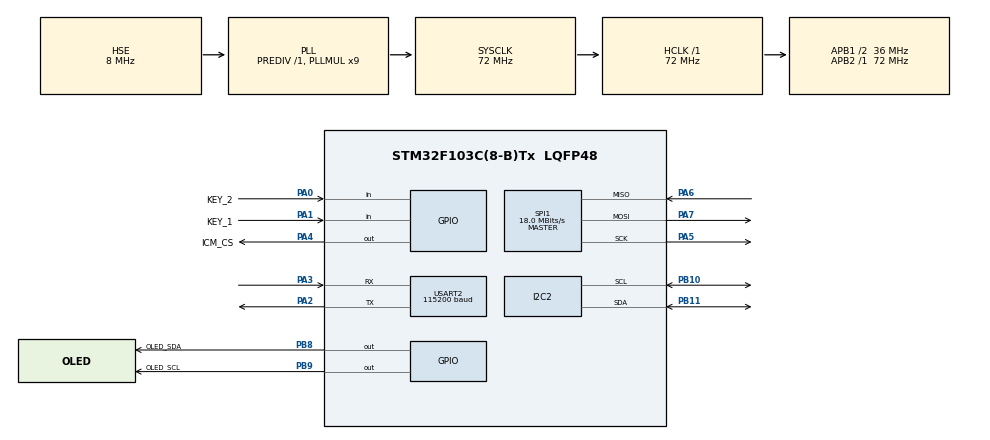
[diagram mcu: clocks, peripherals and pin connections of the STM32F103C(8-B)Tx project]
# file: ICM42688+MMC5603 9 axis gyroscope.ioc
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Dma.Request0=USART2_TX
Dma.Request1=USART2_RX
Dma.USART2_RX.1.Direction=DMA_PERIPH_TO_MEMORY
Dma.USART2_RX.1.Instance=DMA1_Channel6
Dma.USART2_RX.1.MemDataAlignment=DMA_MDATAALIGN_BYTE
Dma.USART2_RX.1.MemInc=DMA_MINC_ENABLE
Dma.USART2_RX.1.Mode=DMA_NORMAL
Dma.USART2_RX.1.PeriphDataAlignment=DMA_PDATAALIGN_BYTE
Dma.USART2_RX.1.PeriphInc=DMA_PINC_DISABLE
Dma.USART2_RX.1.Priority=DMA_PRIORITY_LOW
Dma.USART2_TX.0.Direction=DMA_MEMORY_TO_PERIPH
Dma.USART2_TX.0.Instance=DMA1_Channel7
Dma.USART2_TX.0.MemDataAlignment=DMA_MDATAALIGN_BYTE
Dma.USART2_TX.0.MemInc=DMA_MINC_ENABLE
Dma.USART2_TX.0.Mode=DMA_NORMAL
Dma.USART2_TX.0.PeriphDataAlignment=DMA_PDATAALIGN_BYTE
Dma.USART2_TX.0.PeriphInc=DMA_PINC_DISABLE
Dma.USART2_TX.0.Priority=DMA_PRIORITY_LOW
I2C2.I2C_Mode=I2C_Fast
Mcu.Family=STM32F1
Mcu.Name=STM32F103C(8-B)Tx
Mcu.Package=LQFP48
NVIC.DMA1_Channel6_IRQn=true\:0\:0\:false\:false\:true\:false\:true\:true
NVIC.DMA1_Channel7_IRQn=true\:0\:0\:false\:false\:true\:false\:true\:true
NVIC.PriorityGroup=NVIC_PRIORITYGROUP_4
NVIC.TIM2_IRQn=true\:0\:0\:false\:false\:true\:true\:true\:true
NVIC.TIM3_IRQn=true\:0\:0\:false\:false\:true\:true\:true\:true
NVIC.USART2_IRQn=true\:0\:0\:false\:false\:true\:true\:true\:true
PA0-WKUP.GPIO_Label=KEY_2
PA0-WKUP.GPIO_PuPd=GPIO_PULLUP
PA0-WKUP.Signal=GPIO_Input
PA1.GPIO_Label=KEY_1
PA1.GPIO_PuPd=GPIO_PULLUP
PA1.Signal=GPIO_Input
PA13.Mode=Serial_Wire
PA13.Signal=SYS_JTMS-SWDIO
PA14.Mode=Serial_Wire
PA14.Signal=SYS_JTCK-SWCLK
PA2.Mode=Asynchronous
PA2.Signal=USART2_TX
PA3.Mode=Asynchronous
PA3.Signal=USART2_RX
PA4.GPIO_Label=ICM_CS
PA4.GPIO_Speed=GPIO_SPEED_FREQ_HIGH
PA4.PinState=GPIO_PIN_SET
PA4.Signal=GPIO_Output
PA5.Mode=Full_Duplex_Master
PA5.Signal=SPI1_SCK
PA6.Mode=Full_Duplex_Master
PA6.Signal=SPI1_MISO
PA7.Mode=Full_Duplex_Master
PA7.Signal=SPI1_MOSI
PB10.Mode=I2C
PB10.Signal=I2C2_SCL
PB11.Mode=I2C
PB11.Signal=I2C2_SDA
PB8.GPIO_Label=OLED_SDA
PB8.GPIO_ModeDefaultOutputPP=GPIO_MODE_OUTPUT_OD
PB8.GPIO_PuPd=GPIO_PULLUP
PB8.GPIO_Speed=GPIO_SPEED_FREQ_HIGH
PB8.PinState=GPIO_PIN_RESET
PB8.Signal=GPIO_Output
PB9.GPIO_Label=OLED_SCL
PB9.GPIO_ModeDefaultOutputPP=GPIO_MODE_OUTPUT_OD
PB9.GPIO_PuPd=GPIO_PULLUP
PB9.GPIO_Speed=GPIO_SPEED_FREQ_HIGH
PB9.PinState=GPIO_PIN_RESET
PB9.Signal=GPIO_Output
PC14-OSC32_IN.Mode=LSE-External-Oscillator
PC14-OSC32_IN.Signal=RCC_OSC32_IN
PC15-OSC32_OUT.Mode=LSE-External-Oscillator
PC15-OSC32_OUT.Signal=RCC_OSC32_OUT
PD0-OSC_IN.Mode=HSE-External-Oscillator
PD0-OSC_IN.Signal=RCC_OSC_IN
PD1-OSC_OUT.Mode=HSE-External-Oscillator
PD1-OSC_OUT.Signal=RCC_OSC_OUT
ProjectManager.HeapSize=0x200
ProjectManager.StackSize=0x400
ProjectManager.TargetToolchain=MDK-ARM V5.32
RCC.AHBFreq_Value=72000000
RCC.APB1CLKDivider=RCC_HCLK_DIV2
RCC.APB1Freq_Value=36000000
RCC.APB1TimFreq_Value=72000000
RCC.APB2Freq_Value=72000000
RCC.APB2TimFreq_Value=72000000
RCC.HCLKFreq_Value=72000000
RCC.PLLMUL=RCC_PLL_MUL9
RCC.PLLSourceVirtual=RCC_PLLSOURCE_HSE
RCC.SYSCLKFreq_VALUE=72000000
RCC.SYSCLKSource=RCC_SYSCLKSOURCE_PLLCLK
RCC.USBFreq_Value=72000000
SPI1.BaudRatePrescaler=SPI_BAUDRATEPRESCALER_4
SPI1.CLKPhase=SPI_PHASE_2EDGE
SPI1.CLKPolarity=SPI_POLARITY_HIGH
SPI1.CRCCalculation=SPI_CRCCALCULATION_DISABLE
SPI1.CalculateBaudRate=18.0 MBits/s
SPI1.Direction=SPI_DIRECTION_2LINES
SPI1.Mode=SPI_MODE_MASTER
SPI1.VirtualType=VM_MASTER
TIM2.AutoReloadPreload=TIM_AUTORELOAD_PRELOAD_ENABLE
TIM2.Period=499
TIM2.Prescaler=719
TIM3.AutoReloadPreload=TIM_AUTORELOAD_PRELOAD_ENABLE
TIM3.Period=999
TIM3.Prescaler=71
USART2.BaudRate=115200
USART2.VirtualMode=VM_ASYNC
VP_TIM2_VS_ClockSourceINT.Mode=Internal
VP_TIM3_VS_ClockSourceINT.Mode=Internal
board=custom

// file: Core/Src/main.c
/* USER CODE BEGIN Header */
/**
  ******************************************************************************
  * @file           : main.c
  * @brief          : Main program body
  ******************************************************************************
  * @attention v1.2 区分了6/9轴模式的显示和Kp设置.
  *
  * Copyright (c) 2025 STMicroelectronics.
  * All rights reserved.
  *
  * This software is licensed under terms that can be found in the LICENSE file
  * in the root directory of this software component.
  * If no LICENSE file comes with this software, it is provided AS-IS.
  *
  ******************************************************************************
  */
/* USER CODE END Header */
#include "main.h"
#include "dma.h"
#include "i2c.h"
#include "spi.h"
#include "tim.h"
#include "usart.h"
#include "gpio.h"

/* USER CODE BEGIN Includes */
#include "OLED.h"
#include "delay.h"
#include "Serial.h"
#include "MahonyAHRS.h"
#include "icm42688_driver.h"
#include <math.h>
#include "key.h"
#include "mmc5603.h"
#include "my_flash.h"
#include "debug_log.h"
#include "proto.h"      /* 串口帧协议: 数据帧走这里, 非阻塞 DMA */
/* USER CODE END Includes */

/* USER CODE BEGIN PD */

/* ===================== 调参区 (只改这里) =====================
 * Mahony 增益 twoKp: 修正强度, 时间常数约 1/twoKp 秒。
 *   6 轴: 加速度计只约束 Roll/Pitch, 1.5 比较稳。
 *   9 轴: 磁力计约束 Yaw。
 *         太大 -> Yaw 紧跟磁力计, 磁干扰/标定误差会 1:1 灌进 Yaw;
 *         太小 -> 陀螺积分主导, Yaw 缓慢漂移。
 *         2.0 是保守起点, 调试时建议每次加减 0.5。
 * 两个值都必须 > 0。
 * ============================================================ */
#define MAHONY_TWOKP_6AXIS    1.5f
#define MAHONY_TWOKP_9AXIS    2.0f
/* 上电收敛期专用增益 (只在静止且尚未完成首次零偏学习时使用)。
 * 目的: 让上电初值误差尽快收敛, 而不是慢慢飘过去。
 *   时间常数 = 1/twoKp。仿真(200Hz, 初值误差90度, 收敛到1度):
 *     twoKp=2.0 -> 2.23 s
 *     twoKp=6.0 -> 0.74 s
 *     twoKp=15  -> 0.29 s
 * 之所以敢在上电时用大增益: 只对静止段生效, 且只持续到 auto-zero 首次学完
 * (约 1 秒)。稳定后自动切回 MAHONY_TWOKP_9AXIS, 抗磁干扰能力不受影响。
 */
#define MAHONY_TWOKP_9AXIS_BOOT   6.0f

/* ============ 航向方向约定 (与陀螺符号绑定, 改必须成对改!) ============
 * 实测: 板子【顺时针】(往下看)转时, icm42688_gyro_z 读【负数】,
 *       而原来的磁力计重映射 (-my, +mx) 让 yaw 【逆时针增大】。
 *       两者一致地反着, 所以能稳定锁定, 但约定与标准罗盘(顺时针增大)相反。
 *
 * HZ_SIGN 与 MAG_SWAP 必须【成对】设置, 否则陀螺与磁力计旋向相反,
 * 误差项会互相抵消不了, yaw 会震荡或被拉飞。
 *
 *   0 = 旧约定: 陀螺 +gz, 磁力计 (-my, +mx)   -> 顺时针【减小】
 *   1 = 标准罗盘: 陀螺 -gz, 磁力计 (+my, -mx) -> 顺时针【增大】 (当前)
 *
 * 注意: 受 MMC5603 的 90 度安装角限制, 两种约定的 yaw=0 都不在正北,
 *       而是偏 +/-90 度。若需要 yaw=0 对齐磁北, 在显示处叠加一个常量偏移即可
 * ==================================================================== */
#define HEADING_STD_CONVENTION   1

/* 六轴专用的陀螺 Z 符号 (与九轴解耦)。
 *
 * 为什么要单独一个宏:
 *   六轴下 yaw 没有绝对基准, 完全是 陀螺 Z 的积分, 起点由 MahonyAHRSinit
 *   决定(六轴时磁力计传 0, 故 init_yaw = 0)。因此【旋向】纯属约定,
 *   没有对错, 只影响【顺时针为正】还是【逆时针为正】。
 *   而九轴的旋向是实测确认过的(顺时针增大), 不该被六轴的偏好牵连,
 *   所以这里独立出来。
 *
 *   +1 = 原始方向: 顺时针读数减小
 *   -1 = 反向:     顺时针读数增大
 *
 * 当前取 +1 (用户习惯的原始行为)。
 */
#define MAHONY_GZ_SIGN_6AXIS    (+1.0f)

/* 上电把 yaw 归零 (航向相对起点)。
 *
 * 为什么合理: 六轴下 yaw 没有绝对基准, 完全由陀螺 Z 积分而来,
 * 起点由 MahonyAHRSinit 决定 —— 数学上就是 0。但实际会有两个来源让它偏离 0:
 *   1) 上电那一秒 IMU_Calibrate 期间板子若被碰过, 零偏估计会带出一个偏置;
 *   2) 上电后陀螺残余零偏持续积分。
 * 把上电瞬间的 yaw 记为基准并减掉, 读数就从 0 开始, 符合【相对航向】的物理意义。
 *
 * 只影响显示(yaw_display), 不参与融合, 所以不会改变任何动力学。
 * 九轴下不建议用它 —— 九轴 yaw 是磁北绝对方位, 归零会破坏这个语义。
 */
#define YAW_ZERO_ON_BOOT          1

/* 航向零点偏移 (度)。
 * 受 MMC5603 的 90 度安装角限制, yaw 的 0 点不在磁北。
 * 标定方法: 把板子放平指向你认定的磁北, 读出当时的 yaw, 取相反数填这里。
 *   例如指向磁北时显示 -179, 就填 179.0f。
 * 只影响显示, 不影响融合内部的角度。 */
#define HEADING_ZERO_DEG       179.0f

/* USER CODE END PD */

/* USER CODE BEGIN PV */
// 定义全局标志位，volatile 防止编译器优化
volatile uint8_t imu_update_flag = 0;
/* 融合使能: 上电校准与 MahonyAHRSinit 完成前保持 0,
   避免中断在四元数/零偏就绪之前就开始融合。 */
volatile uint8_t fusion_ready = 0;

uint8_t mag_enabled = 0;    // 是否启用磁力计 (真值由 Flash 决定; 这里给 0 与默认六轴一致)

/* 静止自动零偏修正: 0=尚未学习到, 1=已学习过。供诊断页显示。 */
volatile uint8_t gyro_az_done = 0;
/* 上电收敛期: fusion_ready 之后、auto-zero 首次学完之前, 且判定为静止。
 * Fusion_Task 在此时用 MAHONY_TWOKP_9AXIS_BOOT 提高增益, 加快初值收敛。 */
volatile uint8_t heading_settling = 0;

/* 上电 yaw 基准 (度)。yaw_display = wrap180(yaw_mahony - yaw_boot_base) */
float yaw_boot_base = 0.0f;
/* 供主循环显示的 yaw (已去掉上电基准, 仅六轴使用) */
float yaw_display  = 0.0f;

/* 磁力计直接算出的参考航向(度), 仅九轴有效。用于诊断页对照, 判断轴映射。
 * 由 Fusion_Task 在九轴时更新。 */
float    mag_ref_yaw = 0.0f;
uint8_t  mag_ref_valid = 0;
/* USER CODE END PV */

void SystemClock_Config(void);
/* USER CODE BEGIN PFP */
void Mag_Calibrate(void);

/* 融合任务: 由 TIM2 中断节拍以 1kHz 触发, 定义在文件末尾 */
static void Fusion_Task(void);
/* 角度归一化到 (-180, +180], 供航向显示使用。 */
static float Wrap180(float deg);
/* 静止自动零偏修正: 检测到静止时缓慢学习陀螺残余零偏, 抑制 Yaw 漂移。 */
static void GyroAutoZero_Task(void);
/* USER CODE END PFP */

/* USER CODE BEGIN 0 */
extern SPI_HandleTypeDef hspi1;
extern I2C_HandleTypeDef hi2c2;
/* USER CODE END 0 */

int main(void)
{

  /* MCU Configuration--------------------------------------------------------*/

  /* Reset of all peripherals, Initializes the Flash interface and the Systick. */
  HAL_Init();

  /* Configure the system clock */
  SystemClock_Config();

  /* Initialize all configured peripherals */
  MX_GPIO_Init();
  MX_DMA_Init();
  MX_TIM2_Init();
  MX_SPI1_Init();
  MX_USART2_UART_Init();
  MX_TIM3_Init();
  MX_I2C2_Init();
  /* USER CODE BEGIN 2 */
  Serial2_Init();
  Proto_Init();          /* 初始化 TX 环形缓冲 (必须在 USART2 初始化之后) */
  HAL_Delay(50); // 上电稳定 (原 100ms, 实测 50ms 足够)

  // 初始化 OLED
  OLED_Init();
  OLED_Clear();
  OLED_ShowString(0, 0, "Init Sensor...", OLED_6X8);
  OLED_Update();

  // 等待传感器ID正确
  while(Init_ICM42688()!=0x47);

  // 传感器校准 (注意：上电时保持静止)
  OLED_ShowString(0, 10, "Calib IMU...", OLED_6X8);
  OLED_Update();
  IMU_Calibrate();

  // 初始化 MMC5603
  uint8_t mag_status = MMC5603_Init(&hi2c2);

  // 初始化 Mahony
  /* 融合频率必须与 TIM2 中断节拍严格一致。
   * 当前: TIM2 = 200Hz (tim.c: PSC=719, ARR=4999 -> 5ms)。
   * invSampleFreq = 1/200, 每 5ms 积分一次陀螺。
   * 若这个数字与真实节拍不符, 角度会按比例偏大或偏小。 */
  Mahony_Init(200.0f);

  /* ================= 上电初始化顺序 (顺序很重要, 别调换) =================
   *   1) 从 Flash 读回磁力计偏移 与 6/9 轴开关
   *   2) 按模式设置 Mahony 增益
   *   3) 用一次静止测量初始化四元数 (MahonyAHRSinit)
   *   4) 置 fusion_ready 并开定时器 —— 必须在 3) 之后!
   *      否则中断会用未初始化的四元数先跑一段, 上电姿态会错。
   * ===================================================================== */

  /* flash_flag 用来区分: 设置是「从 Flash 读来的」还是「走了默认值」。
   * 若它不等于 FLASH_FLAG_VALUE_V2, 说明存储无效, 用的是下面的默认值。
   * 这个显示很重要: 之前调默认模式时, 就是被 Flash 里的旧值盖住了。 */
  uint32_t flash_flag = 0;
  Flash_Load_Settings(&mmc5603_data.offset_x, &mmc5603_data.offset_y, &mmc5603_data.offset_z, &mag_enabled, &flash_flag);

  /* 1) 增益: 9 轴的 twoKp 决定磁航向被"信任"的程度。
   *    太大 -> Yaw 紧跟磁力计, 磁干扰与标定误差会 1:1 灌进 Yaw;
   *    太小 -> 陀螺积分占主导, Yaw 缓慢漂移。
   *    MAHONY_TWOKP_9AXIS 是保守起点, 想调就改它 (建议每次加减 0.5)。 */
  Mahony_SetKp(mag_enabled ? MAHONY_TWOKP_9AXIS : MAHONY_TWOKP_6AXIS);

  /* 上电提示 (第 3 行): 一眼看清当前状态。
   *   Mag: ON  / Mag: OFF  -> 九轴 / 六轴 (磁力计是否参与融合)
   *   F / D                 -> 设置来自 Flash 有效存储 / 走了默认值
   *   MagErr                -> MMC5603 初始化失败 (ID 读不到)
   * 说明: Mag: ON/OFF 看的是 mag_enabled (是否参与融合),
   *       而 MagErr 看的是 mag_status (芯片是否真的应答)。
   *       两者独立: 芯片坏了但开关是 ON, 会显示 "Mag: ON MagErr"。 */
  OLED_ShowString(0, 20, mag_enabled ? "Mag: ON " : "Mag: OFF", OLED_6X8);
  OLED_ShowString(60, 20, (flash_flag == FLASH_FLAG_VALUE_V2) ? "F" : "D", OLED_6X8);
  if (mag_status != 0) {
      OLED_ShowString(72, 20, "MagErr", OLED_6X8);
  }
  OLED_Update();
  HAL_Delay(400); // 让用户看清提示 (原 800ms, 缩短以加快上电)
  OLED_Clear();
  OLED_Update();
  LOG_DEBUG("Loaded Offsets: %.3f, %.3f, %.3f\r\n", mmc5603_data.offset_x, mmc5603_data.offset_y, mmc5603_data.offset_z);

  /* 2) 用一次静止测量初始化四元数。
   *    九轴时磁力计分量必须用与 Fusion_Task 相同的轴重映射 (-my, mx, mz),
   *    否则初值航向与融合航向不在同一坐标系, 上电会有一次跳变。 */
  /* 多次采样取平均再初始化。只取一次的话, 磁力计单次噪声会直接变成
   * 初值航向误差, 那个误差就要靠融合慢慢收敛掉 —— 这正是上电感觉
   * 收敛慢的原因之一。取平均后初值准了, 残余误差就小得多。
   * 代价: 磁力计每次读取内部有 10ms 延时, 3 次约 30ms, 可接受。 */
  {
      const uint8_t N_ACC = 5, N_MAG = 3;
      float sax = 0.0f, say = 0.0f, saz = 0.0f;
      float smx = 0.0f, smy = 0.0f, smz = 0.0f;
      uint8_t k;

      for (k = 0; k < N_ACC; k++)
      {
          Get_AccGyro_ICM42688();
          sax += icm42688_acc_x; say += icm42688_acc_y; saz += icm42688_acc_z;
          HAL_Delay(2);
      }
      icm42688_acc_x = sax / (float)N_ACC;
      icm42688_acc_y = say / (float)N_ACC;
      icm42688_acc_z = saz / (float)N_ACC;

      if (mag_enabled != 0)
      {
          for (k = 0; k < N_MAG; k++)
          {
              MMC5603_ReadData_Single(&hi2c2);
              smx += mmc5603_data.mag_x_gauss;
              smy += mmc5603_data.mag_y_gauss;
              smz += mmc5603_data.mag_z_gauss;
          }
          mmc5603_data.calib_x = smx / (float)N_MAG - mmc5603_data.offset_x;
          mmc5603_data.calib_y = smy / (float)N_MAG - mmc5603_data.offset_y;
          mmc5603_data.calib_z = smz / (float)N_MAG - mmc5603_data.offset_z;
      }
  }
  /* 磁力计实参必须与 Fusion_Task 用同一套重映射, 否则上电初值
   * 与融合航向不在一个坐标系, 上电会有一次跳变。 */
#if HEADING_STD_CONVENTION
  MahonyAHRSinit(
      icm42688_acc_x, icm42688_acc_y, icm42688_acc_z,
      (mag_enabled != 0) ? ( mmc5603_data.calib_y) : 0.0f,
      (mag_enabled != 0) ? (-mmc5603_data.calib_x) : 0.0f,
      (mag_enabled != 0) ? ( mmc5603_data.calib_z) : 0.0f
  );
#else
  MahonyAHRSinit(
      icm42688_acc_x, icm42688_acc_y, icm42688_acc_z,
      (mag_enabled != 0) ? (-mmc5603_data.calib_y) : 0.0f,
      (mag_enabled != 0) ? ( mmc5603_data.calib_x) : 0.0f,
      (mag_enabled != 0) ? ( mmc5603_data.calib_z) : 0.0f
  );
#endif

  /* 3) 初始化完成, 使能融合并开节拍 */
  HAL_TIM_Base_Start_IT(&htim2);
  HAL_TIM_Base_Start_IT(&htim3);

#if YAW_ZERO_ON_BOOT
  /* 先让融合跑一小会儿再取基准: MahonyAHRSinit 之后马上读, 姿态还带着
   * 加速度计的初始瞬态。等 200ms (40 个节拍) 再取, 基准更稳。
   * 注意必须在 fusion_ready=1 之后, 否则融合没跑, yaw 不更新。 */
  fusion_ready = 1;
  {
      uint8_t k;
      for (k = 0; k < 40; k++) HAL_Delay(5);   /* 约 200ms */
      yaw_boot_base = yaw_mahony;
  }
#else
  fusion_ready = 1;
#endif
  /* USER CODE END 2 */

  /* Infinite loop */
  /* USER CODE BEGIN WHILE */
  uint8_t display_count = 0;
  /* tx_tick 已删：发帧改用 TIM2 中断里的静态分频变量 tx_div */

  // 页面索引
  // 0: Roll/Pitch/Yaw
  // 1: Raw Acc & Gyro (新)
  // 2: Mag Raw (原始数据)
  // 3: Offset Data (校准偏移)
  // 4: Mag Calibrated (修正后数据)
  uint8_t page_index = 0;

  while (1)
  {
    // 处理短按 - 切换显示页面
    uint8_t key = Key_GetNum();
    if(key == 1)
    {
        page_index++;
        if(page_index > 4) page_index = 0; // 0~4 共5页
        OLED_Clear(); // 切换页面时清屏
    }
    if (key == 2)
    {
        mag_enabled = !mag_enabled; // 翻转状态
		/* 与上电时一致, 统一走调参区的宏, 避免两处不一致。 */
		Mahony_SetKp(mag_enabled ? MAHONY_TWOKP_9AXIS : MAHONY_TWOKP_6AXIS);
		// if (mag_enabled == 0)
    //     {
    //         // 刚切到 6轴模式：把当前的绝对 Yaw 值记录为偏置
    //         // 这样：显示值 = 当前值 - 偏置 = 0
    //         yaw_offset = yaw_mahony;
    //     }
    //     else
    //     {
    //         // 刚切回 9轴模式：偏置清零，恢复绝对航向
    //         yaw_offset = 0.0f;
    //     }

        // 保存状态到 Flash (需要同时保存当前的偏移量，否则会覆盖成0)
        Flash_Save_Settings(mmc5603_data.offset_x, mmc5603_data.offset_y, mmc5603_data.offset_z, mag_enabled);

        // UI 提示
        OLED_Clear();
        if(mag_enabled) {
          OLED_ShowString(0, 0, "Mag Enabled", OLED_6X8);
        } else {
          OLED_ShowString(0, 0, "Mag Disabled", OLED_6X8);
        }
        OLED_Update();
        HAL_Delay(1000); // 提示停留1秒
        OLED_Clear();
    }

    // 处理长按 - 触发校准
    uint8_t long_key = Key_GetLongNum();
    if(long_key == 2)
    {
        LOG_DEBUG("Start Calibration...\r\n");
        // 暂停定时器中断防止冲突（可选，视中断负载而定）
        HAL_TIM_Base_Stop_IT(&htim2);
        Mag_Calibrate();
        HAL_TIM_Base_Start_IT(&htim2);

        OLED_Clear(); // 校准完清屏
    }

  /* 磁力计只在九轴模式下才读取。
   * MMC5603_ReadData_Single 内部有 10ms 阻塞延时, 六轴时读它纯属浪费,
   * 而且会把主循环周期从 1ms 拖到 10ms 以上。 */
  if (mag_enabled != 0)
      {
          // 只有开启时，才发送 I2C 命令读取
          MMC5603_ReadData_Single(&hi2c2);

          // 计算校准值
          mmc5603_data.calib_x = mmc5603_data.mag_x_gauss - mmc5603_data.offset_x;
          mmc5603_data.calib_y = mmc5603_data.mag_y_gauss - mmc5603_data.offset_y;
          mmc5603_data.calib_z = mmc5603_data.mag_z_gauss - mmc5603_data.offset_z;
      }

    /* 融合已经在 TIM2 中断里按固定节拍完成(见 Fusion_Task 与 HAL_TIM_PeriodElapsedCallback),
     * 主循环不再参与采样与解算, 只负责显示与按键。
     * 之前把融合放在主循环取标志的写法会丢样本: 主循环频率远低于采样率,
     * 标志只能记住「有一次」, 中间的样本被整批丢弃, 积分出的角度会严重偏小。 */
    GyroAutoZero_Task();   // 静止时学习陀螺残余零偏 (抑制 Yaw 漂移)

    /* 统一 yaw: 六轴下减去上电基准, 让读数从 0 开始 (相对上电的转角);
     * 九轴下 yaw 是磁北绝对方位, 不加基准。
     *
     * ?? 这一步必须在下面 Proto_SendImu() 之前!
     *   之前它被放在显示刷新之前, 而协议打包在它前面,
     *   结果 OLED 显示的是【归零后】的 yaw、协议发的是【未归零】的原始值,
     *   同一时刻两处相差一个上电基准(实测差了 52 度), 会污染训练数据标签。
     *   现在两者统一用 yaw_display。 */
    /* yaw 归零已随发帧一起移到 TIM2 中断里（打包前一步），
     * 保证「协议发出的 yaw = 屏幕显示的 yaw」。屏幕读的就是中断里写的 yaw_display。 */

    /* 串口数据帧: 主循环每 2 圈发一帧。
     * 主循环一轮约 12ms (九轴时磁力计读取占 10ms), 2 圈约 24ms -> 约 42Hz。
     * 想要严格 100Hz, 需要用独立定时器节拍 (见 docs/串口帧协议.md 的说明);
     * 这里先用简单可靠的方式跑通链路, 上位机侧用 timestamp_ms 校验实际间隔。 */
    /* 发帧已移到 TIM2 中断里做（200 Hz 解算二分频 = 严格 100 Hz）。
     * 原来在这里"每 2 圈发一帧"，而主循环受磁力计 10 ms 阻塞与 OLED
     * 刷屏影响一轮约 12 ms，实测只有约 42 Hz 且间隔不匀，
     * 会把节点 B 的 ML 特征（差分 Jerk、过零率、头尾 0.5 s 切片）全部弄错。
     * 详见 HAL_TIM_PeriodElapsedCallback 里的说明。 */

    display_count++;        // 每 10 次刷新一次显示(200Hz/10 = 20Hz)

    /* 刷新率 = 主循环频率 / 阈值。主循环一轮约 12ms(九轴时磁力计读取占 10ms):
     *   阈值 10 -> 约 8Hz(偏慢, 肉眼可见跳字)
     *   阈值  4 -> 约 20Hz(流畅)  <- 当前
     * 想更快需先把磁力计改成非阻塞读取(MMC5603 驱动里有 10ms 延时)。 */
    if (display_count >= 4)
    {
        display_count = 0;

        // --- OLED 显示部分 (根据页面切换) ---
        if (page_index == 0)
        {
            // Page 0: 姿态角 (RPY)
            if(mag_enabled){
                OLED_ShowString(0, 0, "--- Attitude (9-Axis) ---", OLED_6X8);
            } else {
                OLED_ShowString(0, 0, "--- Attitude (6-Axis) ---", OLED_6X8);
            }
            OLED_ShowString(0, 16, "Roll:", OLED_6X8);
            OLED_ShowFloatNum(40, 16, roll_mahony, 3, 2, OLED_6X8);

            OLED_ShowString(0, 32, "Pitch:", OLED_6X8);
            OLED_ShowFloatNum(40, 32, pitch_mahony, 3, 2, OLED_6X8);

            OLED_ShowString(0, 48, "Yaw:", OLED_6X8);
            /* 六轴: 已减去上电基准, 上电即 0 度, 表示【相对起点的航向】
             * 九轴: 磁北绝对方位 + HEADING_ZERO_DEG 零点偏移
             * 具体由主循环算好的 yaw_display 给出 */
            OLED_ShowFloatNum(40, 48, Wrap180(yaw_display + (mag_enabled ? HEADING_ZERO_DEG : 0.0f)), 3, 2, OLED_6X8);
        }
        else if (page_index == 1)
        {
            // Page 1: 原始 Acc & Gyro
            OLED_ShowString(0, 0, "--- Raw IMU ---", OLED_6X8);
            OLED_ShowString(0, 8, "ax:", OLED_6X8);  OLED_ShowFloatNum(20, 8, icm42688_acc_x, 2, 2, OLED_6X8);
            OLED_ShowString(0, 16, "ay:", OLED_6X8); OLED_ShowFloatNum(20, 16, icm42688_acc_y, 2, 2, OLED_6X8);
            OLED_ShowString(0, 24, "az:", OLED_6X8); OLED_ShowFloatNum(20, 24, icm42688_acc_z, 2, 2, OLED_6X8);

            OLED_ShowString(0, 32, "gx:", OLED_6X8); OLED_ShowFloatNum(20, 32, icm42688_gyro_x, 2, 1, OLED_6X8);
            OLED_ShowString(0, 40, "gy:", OLED_6X8); OLED_ShowFloatNum(20, 40, icm42688_gyro_y, 2, 1, OLED_6X8);
            OLED_ShowString(0, 48, "gz:", OLED_6X8); OLED_ShowFloatNum(20, 48, icm42688_gyro_z, 2, 1, OLED_6X8);
        }
        else if (page_index == 2)
        {
            /* Page 2: 融合诊断 / 磁力计参考航向。
             * 六轴 (mag OFF): 看陀螺残余零偏与校准质量。
             * 九轴 (mag ON ): 看磁力计参考航向 H, 用来判断轴映射是否正确。 */
            if (!mag_enabled)
            {
                OLED_ShowString(0, 0, "--- Fusion Diag ---", OLED_6X8);

                /* GZ: 当前陀螺 Z 轴零偏(dps)。六轴下 Yaw 无绝对基准,
                 *     Yaw 漂移速度就等于这个值: 0.1dps 即每秒 0.1 度。 */
                OLED_ShowString(0, 16, "GZ :", OLED_6X8);
                OLED_ShowFloatNum(30, 16, icm42688_gyro_z, 2, 3, OLED_6X8);

                /* RES: 上电加速度计校准残差(g), 正常 < 0.02。 */
                OLED_ShowString(0, 32, "RES:", OLED_6X8);
                OLED_ShowFloatNum(30, 32, imu_calib_residual, 2, 3, OLED_6X8);

                /* ST: 上电校准质量 (RES<0.02 为 OK)。AZ: 静止自动零偏是否已学到。 */
                OLED_ShowString(0, 48, "ST:", OLED_6X8);
                if (imu_calib_residual < 0.02f) OLED_ShowString(18, 48, "OK ", OLED_6X8);
                else                            OLED_ShowString(18, 48, "BAD", OLED_6X8);
                OLED_ShowString(54, 48, "AZ:", OLED_6X8);
                if (gyro_az_done) OLED_ShowString(78, 48, "1", OLED_6X8);
                else              OLED_ShowString(78, 48, "0", OLED_6X8);
            }
            else
            {
                /* 九轴: 显示磁力计原始值 + 参考航向 H。
                 * 绕竖轴慢慢转 360 度, H 与第 1 页的 Yaw 都应单调变化。
                 *   H 单调而 Yaw 反向/乱跳  -> (-my, mx, mz) 重映射方向不对;
                 *   H 不随转动变化/显示 noMag -> 磁力计没读到有效值。 */
                OLED_ShowString(0, 0, "--- Mag / Heading ---", OLED_6X8);

                OLED_ShowString(0, 16, "MX:", OLED_6X8);
                OLED_ShowFloatNum(24, 16, mmc5603_data.mag_x_gauss, 3, 2, OLED_6X8);
                OLED_ShowString(0, 32, "MY:", OLED_6X8);
                OLED_ShowFloatNum(24, 32, mmc5603_data.mag_y_gauss, 3, 2, OLED_6X8);

                OLED_ShowString(0, 48, "H  :", OLED_6X8);
                if (mag_ref_valid) OLED_ShowFloatNum(30, 48, Wrap180(mag_ref_yaw + HEADING_ZERO_DEG), 3, 0, OLED_6X8);
                else               OLED_ShowString(30, 48, "noMag", OLED_6X8);
            }
        }        else if (page_index == 3)
        {
            // Page 3: 校准偏移量 (Offset)
            OLED_ShowString(0, 0, "--- Mag Offset ---", OLED_6X8);
            OLED_ShowString(0, 16, "OX:", OLED_6X8);
            OLED_ShowFloatNum(24, 16, mmc5603_data.offset_x, 3, 3, OLED_6X8);

            OLED_ShowString(0, 32, "OY:", OLED_6X8);
            OLED_ShowFloatNum(24, 32, mmc5603_data.offset_y, 3, 3, OLED_6X8);

            OLED_ShowString(0, 48, "OZ:", OLED_6X8);
            OLED_ShowFloatNum(24, 48, mmc5603_data.offset_z, 3, 3, OLED_6X8);
        }
        else
        {
            // Page 4: 修正后的磁力计数据 (Corrected)
            OLED_ShowString(0, 0, "--- Mag Calib ---", OLED_6X8);
            OLED_ShowString(0, 16, "CX:", OLED_6X8);
            OLED_ShowFloatNum(24, 16, mmc5603_data.calib_x, 3, 3, OLED_6X8);

            OLED_ShowString(0, 32, "CY:", OLED_6X8);
            OLED_ShowFloatNum(24, 32, mmc5603_data.calib_y, 3, 3, OLED_6X8);

            OLED_ShowString(0, 48, "CZ:", OLED_6X8);
            OLED_ShowFloatNum(24, 48, mmc5603_data.calib_z, 3, 3, OLED_6X8);
        }
        OLED_Update();

        // --- 串口发送部分 ---
        // 打印全部传感器原始数据，用于上位机波形观察
//        LOG_DEBUG("Acc:%.3f,%.3f,%.3f,Gyro:%.3f,%.3f,%.3f,Mag:%.3f,%.3f,%.3f\r\n",
//            icm42688_acc_x,
//            icm42688_acc_y,
//            icm42688_acc_z,
//            icm42688_gyro_x,
//            icm42688_gyro_y,
//            icm42688_gyro_z,
//            mmc5603_data.mag_x_gauss,
//            mmc5603_data.mag_y_gauss,
//            mmc5603_data.mag_z_gauss
//        );
		// LOG_DEBUG("raw:%.3f,%.3f,%.3f,offset:%.3f,%.3f,%.3f,cal:%.3f,%.3f,%.3f\r\n",
        //     mmc5603_data.mag_x_gauss,
        //     mmc5603_data.mag_y_gauss,
        //     mmc5603_data.mag_z_gauss,
        //     mmc5603_data.offset_x,
        //     mmc5603_data.offset_y,
        //     mmc5603_data.offset_z,
        //     mmc5603_data.calib_x,
        //     mmc5603_data.calib_y,
        //     mmc5603_data.calib_z
        // );
        /* 串口输出默认关闭(见 debug_log.h)。开启前请先把 USART2 波特率从
         * 9600 改成 115200, 否则 9600 下每帧约 35ms 会阻塞主循环。 */
        LOG_DEBUG("roll:%.2f,pitch:%.2f,yaw:%.2f\r\n", roll_mahony, pitch_mahony, yaw_mahony);
    }
    /* USER CODE END WHILE */

  }
}

void SystemClock_Config(void)
{
  RCC_OscInitTypeDef RCC_OscInitStruct = {0};
  RCC_ClkInitTypeDef RCC_ClkInitStruct = {0};

  /** Initializes the RCC Oscillators according to the specified parameters
  * in the RCC_OscInitTypeDef structure.
  */
  RCC_OscInitStruct.OscillatorType = RCC_OSCILLATORTYPE_HSE;
  RCC_OscInitStruct.HSEState = RCC_HSE_ON;
  RCC_OscInitStruct.HSEPredivValue = RCC_HSE_PREDIV_DIV1;
  RCC_OscInitStruct.HSIState = RCC_HSI_ON;
  RCC_OscInitStruct.PLL.PLLState = RCC_PLL_ON;
  RCC_OscInitStruct.PLL.PLLSource = RCC_PLLSOURCE_HSE;
  RCC_OscInitStruct.PLL.PLLMUL = RCC_PLL_MUL9;
  if (HAL_RCC_OscConfig(&RCC_OscInitStruct) != HAL_OK)
  {
    Error_Handler();
  }

  /** Initializes the CPU, AHB and APB buses clocks
  */
  RCC_ClkInitStruct.ClockType = RCC_CLOCKTYPE_HCLK|RCC_CLOCKTYPE_SYSCLK
                              |RCC_CLOCKTYPE_PCLK1|RCC_CLOCKTYPE_PCLK2;
  RCC_ClkInitStruct.SYSCLKSource = RCC_SYSCLKSOURCE_PLLCLK;
  RCC_ClkInitStruct.AHBCLKDivider = RCC_SYSCLK_DIV1;
  RCC_ClkInitStruct.APB1CLKDivider = RCC_HCLK_DIV2;
  RCC_ClkInitStruct.APB2CLKDivider = RCC_HCLK_DIV1;

  if (HAL_RCC_ClockConfig(&RCC_ClkInitStruct, FLASH_LATENCY_2) != HAL_OK)
  {
    Error_Handler();
  }
}

/* USER CODE BEGIN 4 */
// 定时器中断回调
/* HAL_TIM_PeriodElapsedCallback 已移到文件末尾, 与 Fusion_Task 放在一起 */
// 磁力计校准函数
void Mag_Calibrate(void)
{
    float x_min = 1000.0f, x_max = -1000.0f;
    float y_min = 1000.0f, y_max = -1000.0f;
    float z_min = 1000.0f, z_max = -1000.0f;
    uint16_t sample_count = 0;

    // 给串口一点时间缓冲
    HAL_Delay(50);
    LOG_DEBUG("Start Mag Calibration...\r\n");

    OLED_Clear();
    OLED_ShowString(0, 0, "Mag Calibrating", OLED_6X8);
    OLED_ShowString(0, 16, "Rotate 8 shape!", OLED_6X8);
    OLED_Update();

    // 采集数据约 15 秒
    for(int i = 0; i < 1500; i++)
    {
        MMC5603_ReadData_Single(&hi2c2);

        // 更新极值
        if(mmc5603_data.mag_x_gauss < x_min) x_min = mmc5603_data.mag_x_gauss;
        if(mmc5603_data.mag_x_gauss > x_max) x_max = mmc5603_data.mag_x_gauss;

        if(mmc5603_data.mag_y_gauss < y_min) y_min = mmc5603_data.mag_y_gauss;
        if(mmc5603_data.mag_y_gauss > y_max) y_max = mmc5603_data.mag_y_gauss;

        if(mmc5603_data.mag_z_gauss < z_min) z_min = mmc5603_data.mag_z_gauss;
        if(mmc5603_data.mag_z_gauss > z_max) z_max = mmc5603_data.mag_z_gauss;

        sample_count++;
        // 降低串口打印频率，避免阻塞，每200ms打印一次
        if(sample_count % 20 == 0) {
            // 只更新OLED，不一定要打印串口
            OLED_ShowNum(0, 32, (1500-i)/100, 2, OLED_6X8);
            OLED_Update();
        }

        HAL_Delay(10);
    }

    // 计算中心偏移量
    mmc5603_data.offset_x = (x_min + x_max) / 2.0f;
    mmc5603_data.offset_y = (y_min + y_max) / 2.0f;
    mmc5603_data.offset_z = (z_min + z_max) / 2.0f;

    LOG_DEBUG("Saving to Flash...\r\n");
    Flash_Save_Settings(mmc5603_data.offset_x, mmc5603_data.offset_y, mmc5603_data.offset_z, mag_enabled);
    LOG_DEBUG("Save Done!\r\n");

    OLED_Clear();
    OLED_ShowString(0, 0, "Calib Done", OLED_6X8);
    OLED_ShowString(0, 16, "Saved to Flash", OLED_6X8); // 提示已保存
    OLED_Update();

    // 一次性打印结果
    HAL_Delay(100);
    LOG_DEBUG("Mag Calibration Done!\r\n");
    HAL_Delay(10);
    LOG_DEBUG("Offset X: %.4f\r\n", mmc5603_data.offset_x);
    HAL_Delay(10);
    LOG_DEBUG("Offset Y: %.4f\r\n", mmc5603_data.offset_y);
    HAL_Delay(10);
    LOG_DEBUG("Offset Z: %.4f\r\n", mmc5603_data.offset_z);

    HAL_Delay(2000);
}
/* USER CODE END 4 */
/* =================================================================================
 * 静止自动零偏修正 (Gyro Auto-Zero)
 *
 * 为什么需要:
 *   六轴模式下 Yaw 没有任何绝对基准(加速度计只能观测重力方向, 不约束航向),
 *   因此 Yaw 的漂移速度【精确等于】陀螺 Z 轴残余零偏:
 *       0.1 dps  ->  每秒 0.1 度  ->  每分钟 6 度
 *   上电那次静态标定(1 秒)受上电倾斜、温度、噪声影响, 往往残留 0.05~0.2 dps。
 *   实测本板残留约 0.11 dps, 即每分钟漂 6.8 度, 几分钟就累积成几十度。
 *
 * 做法 (可穿戴设备的标准手段):
 *   当陀螺三轴都明显安静(判定为静止)时, 累积一段时间求均值,
 *   再把该均值补进 gyro_offset。驱动层读取时已经 -= gyro_offset,
 *   所以补进去之后静止时的读数会自动收敛到 0。
 *
 * 安全性:
 *   - 需要连续静止 5 秒才更新一次, 剧烈运动时计数清零, 不会把真实转动学成零偏;
 *   - 阈值 0.5 dps / 0.08 g 足够宽, 正常手持晃动也会被判为运动而不学习;
 *   - 由 fusion_ready 门控, 上电校准与 AHRS 初始化完成前不动作。
 * ================================================================================= */
#define GYRO_AZ_THRESHOLD_DPS   0.5f     /* 三轴都小于此值才算静止 */
#define ACC_AZ_THRESHOLD_G      0.08f    /* 加速度模值偏离 1g 小于此值 */
#define GYRO_AZ_SAMPLES         500      /* 100ms x 500 = 静止 50 秒... 见下 */

static void GyroAutoZero_Task(void)
{
    static uint32_t tick_last  = 0;
    static uint32_t n_samples  = 0;
    static float    sum_x = 0.0f, sum_y = 0.0f, sum_z = 0.0f;

    float amag;
    uint32_t now;

    if (!fusion_ready) return;

    /* 只在静止时累积。剧烈运动立刻清零重来, 避免把真实转动学成零偏。 */
    amag = sqrtf(icm42688_acc_x * icm42688_acc_x
               + icm42688_acc_y * icm42688_acc_y
               + icm42688_acc_z * icm42688_acc_z);

    if (fabsf(icm42688_gyro_x) > GYRO_AZ_THRESHOLD_DPS ||
        fabsf(icm42688_gyro_y) > GYRO_AZ_THRESHOLD_DPS ||
        fabsf(icm42688_gyro_z) > GYRO_AZ_THRESHOLD_DPS ||
        fabsf(amag - 1.0f) > ACC_AZ_THRESHOLD_G)
    {
        n_samples = 0;
        sum_x = sum_y = sum_z = 0.0f;
        heading_settling = 0;   /* 有运动, 退出收敛期(此时大增益不安全) */
        return;
    }

    /* 判定静止: 若首次零偏还没学完, 就处于收敛期, 用大增益快速收敛。 */
    heading_settling = (gyro_az_done == 0) ? 1u : 0u;

    /* 每 100ms 取一个样本。首次 10 个样本(约1秒)即修正, 之后 50 个样本。
     * 首次均值噪声约 0.028/sqrt(10) = 0.009 dps, 之后降到约 0.004 dps。 */
    now = HAL_GetTick();
    if ((now - tick_last) < 100u) return;
    tick_last = now;

    sum_x += icm42688_gyro_x;
    sum_y += icm42688_gyro_y;
    sum_z += icm42688_gyro_z;
    n_samples++;

    /* 阈值分两档: 首次只要 10 个样本(静止约1秒)就修正, 让开机头几秒的漂移尽快消失;
     * 之后回到 50 个样本(静止5秒), 长期跟踪更稳, 不易被扰动带偏。 */
    if (n_samples >= ((gyro_az_done == 0) ? 10u : 50u))
    {
        /* 读数 = 真值 - gyro_offset, 静止时真值=0, 故读数均值就是残余零偏。
         * 把它补进 gyro_offset 即可让静止读数收敛到 0。 */
        gyro_offset_x += sum_x / (float)n_samples;
        gyro_offset_y += sum_y / (float)n_samples;
        gyro_offset_z += sum_z / (float)n_samples;

        n_samples = 0;
        sum_x = sum_y = sum_z = 0.0f;
        gyro_az_done = 1;
    }
}
/* 把角度归一化到 (-180, +180]。显示航向必须做这一步, 否则加偏移后会跑出范围。 */
static float Wrap180(float deg)
{
    while (deg >  180.0f) deg -= 360.0f;
    while (deg < -180.0f) deg += 360.0f;
    return deg;
}

/**
  * @brief  单样本融合任务 (由 TIM2 中断节拍以 200Hz 触发)
  * @note   一次 12 字节 burst 同时取回加速度与陀螺, 保证六轴同源;
  *         磁力计仅在九轴模式下参与, 其读取在中断外完成(主循环)。
  */
static void Fusion_Task(void)
{
    Get_AccGyro_ICM42688();

    if (mag_enabled == 1)
    {
        /* 九轴融合 (MMC5603 参与)。
         * 保持原有轴重映射 (-my, mx, mz): 磁力计 Y 轴对应板子前方。
         * 开九轴前请先验证: 绕竖轴转 360 度, Yaw 应单调变化并转回原点。 */
        /* HZ_SIGN 与 MAG_SWAP 必须成对: 见文件头 航向方向约定 的说明。
         * 这里用宏, 切换约定时只改一处, 不会漏改导致陀螺与磁力计打架。 */
#if HEADING_STD_CONVENTION
        Mahony_update(
            icm42688_gyro_x * 0.0174533f,
            icm42688_gyro_y * 0.0174533f,
           -icm42688_gyro_z * 0.0174533f,          /* 陀螺 Z 取反 */
            icm42688_acc_x, icm42688_acc_y, icm42688_acc_z,
             mmc5603_data.calib_y,                 /* 磁力计 (+my, -mx) */
            -mmc5603_data.calib_x,
             mmc5603_data.calib_z
        );
#else
        Mahony_update(
            icm42688_gyro_x * 0.0174533f,
            icm42688_gyro_y * 0.0174533f,
            icm42688_gyro_z * 0.0174533f,
            icm42688_acc_x, icm42688_acc_y, icm42688_acc_z,
            -mmc5603_data.calib_y,
             mmc5603_data.calib_x,
             mmc5603_data.calib_z
        );
#endif
    }
    else
    {
        // 六轴融合 (只用陀螺仪和加速度计) —— 上电默认走这条路
        MahonyAHRSupdateIMU(
            icm42688_gyro_x * 0.0174533f,
            icm42688_gyro_y * 0.0174533f,
            MAHONY_GZ_SIGN_6AXIS * icm42688_gyro_z * 0.0174533f,   /* 六轴独立符号 */
            icm42688_acc_x, icm42688_acc_y, icm42688_acc_z
        );
    }

    /* 收敛期切换增益: 静止且未学完首次零偏时用大增益, 加速上电收敛。
     * 用 SetKp 而不是改 Mahony_Init, 因为 Init 会重置四元数与积分项。
     * 只对九轴生效(六轴没有磁力计, Yaw 本就不可观测, 提增益无意义)。 */
    if (mag_enabled == 1)
    {
        float want_kp = heading_settling ? MAHONY_TWOKP_9AXIS_BOOT : MAHONY_TWOKP_9AXIS;
        if (want_kp != Mahony_GetKp()) Mahony_SetKp(want_kp);
    }

    Mahony_computeAngles();

    /* 九轴时顺便算出磁力计参考航向, 供诊断页对照。
     * 复刻 MahonyAHRSinit 的倾斜补偿公式, 但用与融合一致的轴重映射。
     * 若这个角度单调变化而 Yaw 反向或乱跳, 说明重映射方向错了。 */
    if (mag_enabled == 1)
    {
        float cr2 = cosf(roll_mahony  * 0.0174533f);
        float sr2 = sinf(roll_mahony  * 0.0174533f);
        float cp2 = cosf(pitch_mahony * 0.0174533f);
        float sp2 = sinf(pitch_mahony * 0.0174533f);
#if HEADING_STD_CONVENTION
        float bx  =  mmc5603_data.calib_y;   /* 与 Fusion_Task 的重映射一致 */
        float by  = -mmc5603_data.calib_x;
#else
        float bx  = -mmc5603_data.calib_y;
        float by  =  mmc5603_data.calib_x;
#endif
        float bz  =  mmc5603_data.calib_z;
        float magX, magY;

        magX = bx * cp2 + by * sp2 * sr2 + bz * sp2 * cr2;
        magY = by * cr2 - bz * sr2;
        mag_ref_yaw = atan2f(-magY, magX) * 57.29578f;
        mag_ref_valid = ((bx * bx + by * by + bz * bz) > 0.01f) ? 1u : 0u;
    }
    else
    {
        mag_ref_valid = 0u;
    }
}

/**
  * @brief  TIM2 周期回调: 200Hz 融合节拍
  * @note   TIM2 优先级已下调为 1(低于 SysTick), 因此这里即使耗时偏长,
  *         HAL_GetTick / HAL_Delay 的超时判断也不会失效。
  */
void HAL_TIM_PeriodElapsedCallback(TIM_HandleTypeDef *htim)
{
    if (htim->Instance == TIM2)
    {
        /* 融合就在这里做, 每个节拍恰好消耗一个样本, 一个都不丢。
         * 这是角度准确的关键: 中断不会被 OLED / 串口 / 磁力计阻塞,
         * 因此 invSampleFreq = 1/200 与实际间隔严格一致。
         * 就绪门控: 上电校准与 MahonyAHRSinit 完成前不做融合。 */
        if (fusion_ready)
        {
            static uint8_t tx_div = 0U;   /* 200 Hz -> 100 Hz 发帧分频 */

            Fusion_Task();

            /* yaw 归零必须在打包之前：保证「发出的值 = 屏幕显示的值」
             * （曾经协议发原始 yaw、屏幕显归零后的 yaw，差一个上电基准实测 52 度，
             *   污染训练标签）。 */
#if YAW_ZERO_ON_BOOT
            yaw_display = (mag_enabled == 0) ? Wrap180(yaw_mahony - yaw_boot_base)
                                            : yaw_mahony;
#else
            yaw_display = yaw_mahony;
#endif

            /* ★ 严格 100 Hz 发帧（2026-10-14 修正）
             * 原先在主循环里"每 2 圈发一帧"：主循环受 MMC5603_ReadData_Single()
             * 的 10 ms 阻塞与 OLED 软 I2C 刷新影响，一轮约 12 ms，
             * 实测只有约 42 Hz 且间隔不匀；而节点 B 的 ML 特征
             * （差分 Jerk × FS、过零率、头尾 0.5 s 切片）全部假设严格 100 Hz。
             * 放到本中断里二分频，间隔严格 10 ms，且不影响磁力计与显示。
             * Proto_SendImu() 是非阻塞设计（DMA 忙则丢帧并计入 stat_dropped），
             * 可安全在中断上下文调用。 */
            tx_div ^= 1U;
            if (tx_div == 0U)
            {
                Proto_SendImu();
            }
        }
    }
    else if (htim->Instance == TIM3)
    {
        Key_Tick();
    }
}

void Error_Handler(void)
{
  __disable_irq();
  while (1)
  {
  }
}
